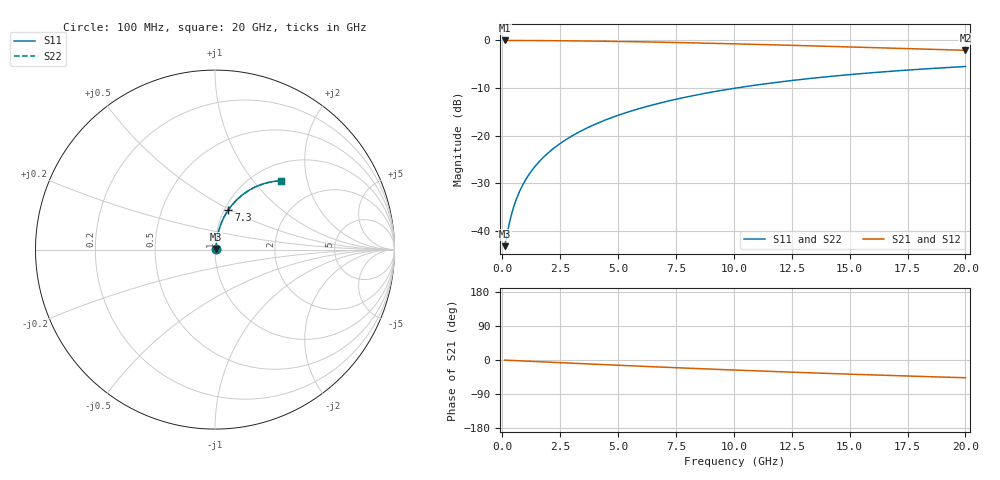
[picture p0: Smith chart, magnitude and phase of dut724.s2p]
! Touchstone file exported from HFSS 2024.1.0
!  File:  C:/UserFiles/LocalFiles/RDL_TSV_Batchsim/temp_RDL_bottom_724_1779858612.aedt
!  Generated:  01:12:45 PM May 27, 2026
!  Design:  RDL_bottom
!  Project:  temp_RDL_bottom_724_1779858612
!  Setup:  Setup1
!  Solution:  Sweep
! Variables:
!  dtsv = 10.80580581um
!  hbump = 3um
!  htsv = 82.02um
!  ldown = 565.25um
!  lrdl = 100um
!  p = 40
!  p1 = 58.44um
!  rhole = 1um
!  t = 450um
!  tdown = 2.64um
!  trdl = 3.915915916um
!  wdown = 12.73um
!  wrdl = 20um
# GHz S MA R 50.000000
! Terminal data exported
! Port[1] = RDL1_T1
! Port[2] = RDL1_T2
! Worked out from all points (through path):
!   200 points, 100 MHz to 20 GHz, reference 50 ohm
!   highest |S21| = -0.05 dB at 100 MHz (marker M1); lowest = -2.1 dB at 20 GHz (marker M2)
!   group delay of S21, straight-line fit = 6.51 ps
!   lowest |S11| = -43.2 dB at 100 MHz (marker M3), VSWR 1.01, Z = 50.6 + j0.346 ohm
!   |S11| at or under -10 dB: start of sweep to 10.13 GHz
!   |S22| runs from -43.2 to -5.5 dB; largest |S21 - S12| = 1.9e-15
!   S11 on the Smith chart (normalised r, x): 100 MHz: 1.01, +0.01; 7.3 GHz: 1.04, +0.49; 20 GHz: 1.31, +1.40
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0.1  0.00694 29.5  0.994 -0.3  0.994 -0.3  0.00694 29.5
! Gamma 0 0 0 0
! Port Impedance 50 0 50 0
0.3  0.01197 58.4  0.9938 -0.9  0.9938 -0.9  0.01197 58.4
0.4  0.01501 64.5  0.9936 -1.2  0.9936 -1.2  0.01501 64.5
0.5  0.01815 68.4  0.9934 -1.4  0.9934 -1.4  0.01815 68.4
0.6  0.02133 71.1  0.9932 -1.7  0.9932 -1.7  0.02133 71.1
0.7  0.02454 73.0  0.993 -2.0  0.993 -2.0  0.02454 73.0
0.9  0.03097 75.5  0.9925 -2.6  0.9925 -2.6  0.03097 75.5
1.2  0.04064 77.5  0.9918 -3.4  0.9918 -3.4  0.04064 77.5
1.4  0.0471 78.3  0.9912 -4.0  0.9912 -4.0  0.0471 78.3
1.7  0.05681 79.0  0.9902 -4.8  0.9902 -4.8  0.05681 79.0
2.2  0.07301 79.4  0.9883 -6.2  0.9883 -6.2  0.07301 79.4
2.8  0.09246 79.1  0.9855 -7.9  0.9855 -7.9  0.09247 79.1
3.5  0.1151 78.4  0.9815 -9.8  0.9815 -9.8  0.1151 78.4
4.2  0.1376 77.3  0.9768 -11.7  0.9768 -11.7  0.1376 77.4
5  0.1632 76.0  0.9705 -13.9  0.9705 -13.9  0.1632 76.0
6.8  0.2193 72.4  0.9536 -18.6  0.9536 -18.6  0.2194 72.4
7.3  0.2345 71.4  0.9483 -19.8  0.9483 -19.8  0.2346 71.4
8.6  0.273 68.6  0.9336 -23.1  0.9336 -23.1  0.2731 68.6
10.1  0.3154 65.4  0.9153 -26.7  0.9153 -26.7  0.3154 65.4
13.4  0.3997 58.5  0.8718 -34.1  0.8718 -34.1  0.3997 58.5
16.7  0.471 52.2  0.8272 -40.8  0.8272 -40.8  0.471 52.2
20  0.53 46.4  0.7839 -46.8  0.7839 -46.8  0.53 46.4
